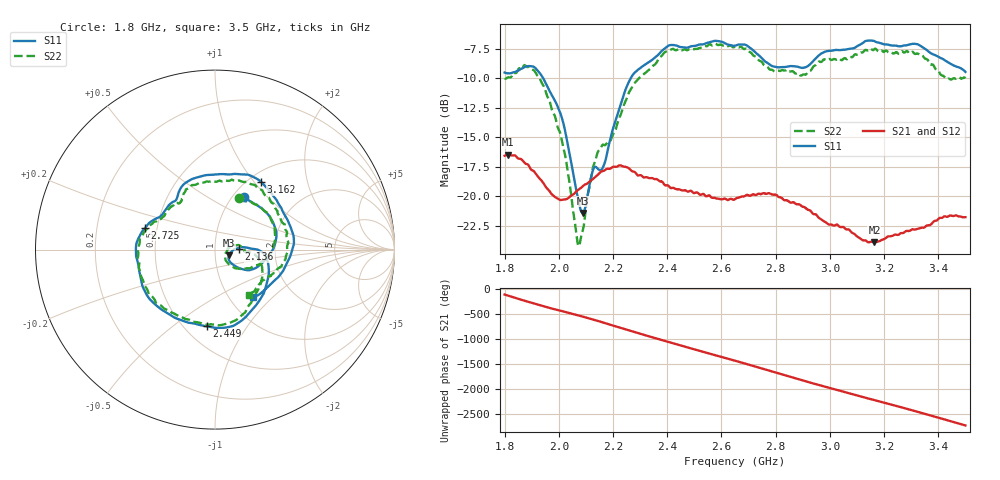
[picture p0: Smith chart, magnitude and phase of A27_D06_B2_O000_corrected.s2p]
! Created with skrf 1.9.0 (http://scikit-rf.org).
# Hz S RI R 50.0
!freq ReS11 ImS11 ReS21 ImS21 ReS12 ImS12 ReS22 ImS22
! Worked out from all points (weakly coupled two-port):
!   1601 points, 1.8 GHz to 3.5 GHz, reference 50 ohm
!   highest |S21| = -16.48 dB at 1.812 GHz (marker M1); lowest = -23.9 dB at 3.164 GHz (marker M2)
!   lowest |S11| = -21.4 dB at 2.089 GHz (marker M3), VSWR 1.19, Z = 58.4 - j3.67 ohm
!   |S11| at or under -10 dB: 1.943 GHz to 2.265 GHz (321.9 MHz wide, 15.3 % of centre)
!   |S22| runs from -24.2 to -7.1 dB; largest |S21 - S12| = 0.0026
!   S11 on the Smith chart (normalised r, x): 1.8 GHz: 1.12, +0.74; 2.136 GHz: 1.31, +0.01; 2.449 GHz: 0.64, -0.67; 2.725 GHz: 0.43, +0.13; 3.162 GHz: 1.14, +1.09; 3.5 GHz: 1.28, -0.76
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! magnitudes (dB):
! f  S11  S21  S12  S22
! 1.8 GHz  -9.5  -16.6  -16.5  -10.0
! 1.812 GHz  -9.6  -16.5  -16.5  -9.9
! 1.88 GHz  -9.0  -17.3  -17.2  -9.0
! 1.942 GHz  -10.0  -18.9  -18.8  -10.6
! 2.013 GHz  -13.4  -20.3  -20.3  -15.4
! 2.068 GHz  -19.9  -19.5  -19.5  -23.7
! 2.084 GHz  -21.3  -19.2  -19.2  -23.3
! 2.089 GHz  -21.4  -19.1  -19.2  -22.8
! 2.136 GHz  -17.5  -18.3  -18.3  -16.9
! 2.166 GHz  -17.4  -17.8  -17.8  -15.6
! 2.265 GHz  -10.0  -17.8  -17.8  -10.9
! 2.367 GHz  -8.0  -18.6  -18.6  -8.3
! 2.449 GHz  -7.3  -19.5  -19.4  -7.6
! 2.65 GHz  -7.2  -20.2  -20.2  -7.3
! 2.725 GHz  -7.8  -19.9  -19.9  -8.1
! 2.8 GHz  -9.0  -19.9  -19.9  -9.4
! 2.934 GHz  -8.6  -21.4  -21.3  -9.2
! 3.162 GHz  -6.8  -23.9  -23.9  -7.6
! 3.164 GHz  -6.8  -23.9  -23.9  -7.5
! 3.217 GHz  -7.1  -23.4  -23.4  -7.8
! 3.324 GHz  -7.1  -22.8  -22.7  -7.9
! 3.5 GHz  -9.4  -21.8  -21.7  -10.0
